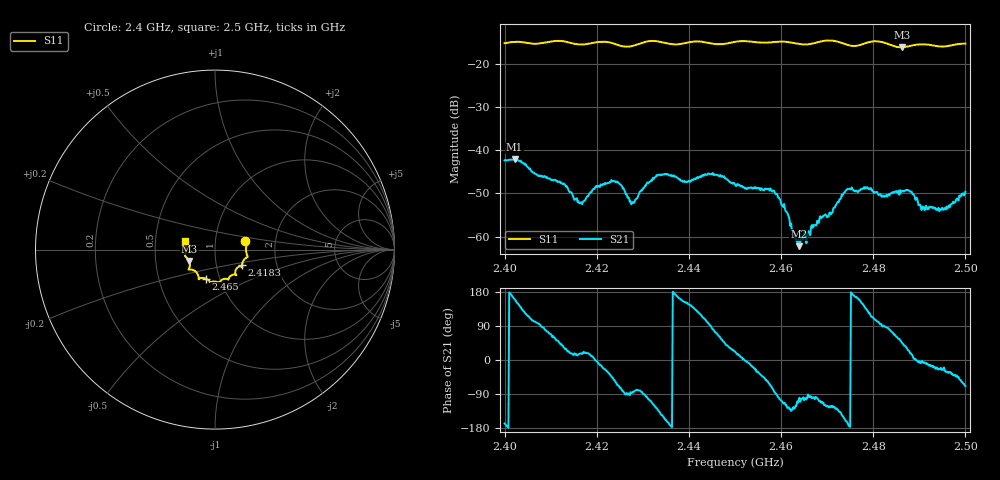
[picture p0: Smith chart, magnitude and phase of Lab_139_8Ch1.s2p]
# Hz S RI R 50
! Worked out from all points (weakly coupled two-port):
!   601 points, 2.4 GHz to 2.5 GHz, reference 50 ohm
!   highest |S21| = -42.07 dB at 2.4022 GHz (marker M1); lowest = -62.2 dB at 2.4638 GHz (marker M2)
!   lowest |S11| = -16.1 dB at 2.4862 GHz (marker M3), VSWR 1.37, Z = 37.2 - j4.83 ohm
!   |S11| at or under -10 dB: start of sweep to end of sweep
!   S12 and S22 are empty: the file has one direction only
!   S11 on the Smith chart (normalised r, x): 2.4 GHz: 1.40, +0.14; 2.4183 GHz: 1.33, -0.24; 2.465 GHz: 0.86, -0.28; 2.5 GHz: 0.71, +0.07
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2.4e9  0.1688 0.0469  -0.00745 -0.00169  0 0  0 0
2.402167e9  0.1778 0.0369  -0.00742 0.00266  0 0  0 0
2.4125e9  0.1807 -0.0417  0.0032 0.00255  0 0  0 0
2.416667e9  0.1548 -0.0685  0.00237 0.000762  0 0  0 0
2.418333e9  0.1501 -0.0872  0.003 0.000856  0 0  0 0
2.423667e9  0.145 -0.0955  0.00274 -0.00346  0 0  0 0
2.427667e9  0.115 -0.1148  0.000147 -0.00248  0 0  0 0
2.433333e9  0.1175 -0.1413  -0.00357 -0.00376  0 0  0 0
2.439667e9  0.0765 -0.1608  -0.00373 0.00213  0 0  0 0
2.444667e9  0.0645 -0.1627  -9.47e-05 0.00533  0 0  0 0
2.45e9  0.0263 -0.1801  0.00372 0.00155  0 0  0 0
2.458667e9  -0.0214 -0.1802  0.000238 -0.0032  0 0  0 0
2.463833e9  -0.0411 -0.1674  -0.000225 -0.000739  0 0  0 0
2.465e9  -0.0523 -0.1615  -0.000317 -0.00108  0 0  0 0
2.466667e9  -0.0712 -0.1579  -0.000253 -0.00133  0 0  0 0
2.4745e9  -0.0974 -0.1358  -0.0035 -0.000751  0 0  0 0
2.483333e9  -0.1412 -0.0966  0.000415 0.00307  0 0  0 0
2.486167e9  -0.1437 -0.0633  0.00232 0.00248  0 0  0 0
2.488e9  -0.1564 -0.0464  0.00315 0.00102  0 0  0 0
2.490667e9  -0.1668 -0.0351  0.00223 -7.37e-05  0 0  0 0
2.494167e9  -0.1612 -0.00731  0.00196 -0.00089  0 0  0 0
2.5e9  -0.1668 0.0468  0.00119 -0.0031  0 0  0 0
